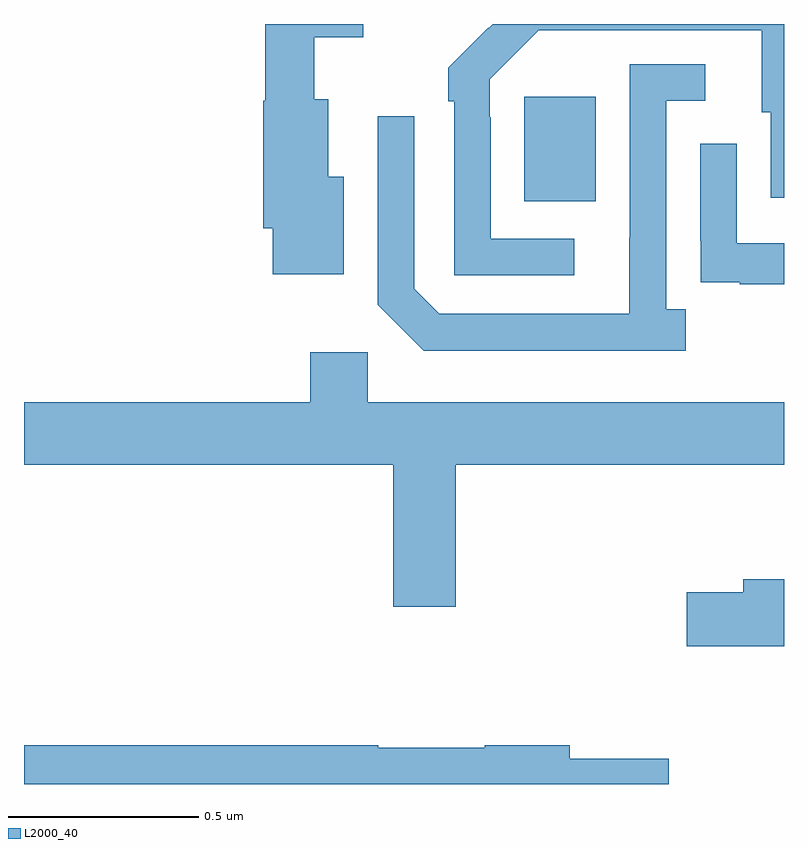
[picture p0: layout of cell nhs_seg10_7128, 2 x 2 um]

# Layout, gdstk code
import gdstk
lib = gdstk.Library(unit=1e-6, precision=1e-09)
def R(c, l, rs):  # rectangles x0, y0, x1, y1
    for r in rs: c.add(gdstk.rectangle(r[:2], r[2:], *l))
def P(c, l, *ps):  # polygons
    for p in ps: c.add(gdstk.Polygon(p, *l))
L2000_40 = (2000, 40)

nhs_seg10_7128 = lib.new_cell('nhs_seg10_7128')
R(nhs_seg10_7128, L2000_40, [(201.317,1277.033,201.505,1277.308)])
P(nhs_seg10_7128, L2000_40, [(200.842,1277.098),(200.8,1277.098),(200.8,1277.302),(200.764,1277.302),(200.764,1277.465),(200.893,1277.465),(200.893,1277.5),(200.635,1277.5),(200.635,1277.298),(200.63,1277.298),(200.63,1276.962),(200.654,1276.962),(200.654,1276.841),(200.842,1276.841)],
  [(201.448,1276.935),(201.228,1276.935),(201.228,1277.255),(201.225,1277.255),(201.225,1277.355),(201.354,1277.484),(201.941,1277.484),(201.941,1277.268),(201.965,1277.268),(201.965,1277.043),(202,1277.043),(202,1277.5),(201.234,1277.5),(201.223,1277.489),(201.222,1277.49),(201.117,1277.385),(201.117,1277.297),(201.132,1277.297),(201.132,1276.839),(201.448,1276.839)],
  [(201.742,1276.75),(201.69,1276.75),(201.69,1277.298),(201.793,1277.298),(201.793,1277.394),(201.594,1277.394),(201.594,1276.937),(201.593,1276.937),(201.593,1276.737),(201.093,1276.737),(201.027,1276.803),(201.027,1277.257),(200.931,1277.257),(200.931,1276.761),(201.052,1276.64),(201.742,1276.64)],
  [(202,1276.923),(201.876,1276.923),(201.876,1277.185),(201.78,1277.185),(201.78,1276.93),(201.781,1276.93),(201.781,1276.821),(201.883,1276.821),(201.883,1276.815),(202,1276.815)],
  [(201.136,1276.34),(202,1276.34),(202,1276.504),(200.904,1276.504),(200.904,1276.636),(200.753,1276.636),(200.753,1276.504),(200,1276.504),(200,1276.34),(200.972,1276.34),(200.972,1275.966),(201.136,1275.966)],
  [(202,1276.039),(201.893,1276.039),(201.893,1276.005),(201.744,1276.005),(201.744,1275.863),(202,1275.863)],
  [(201.697,1275.566),(201.436,1275.566),(201.436,1275.602),(201.212,1275.602),(201.212,1275.595),(200.932,1275.595),(200.932,1275.602),(200,1275.602),(200,1275.5),(201.697,1275.5)])

lib.write_gds('nhs_seg10_7128.gds')
